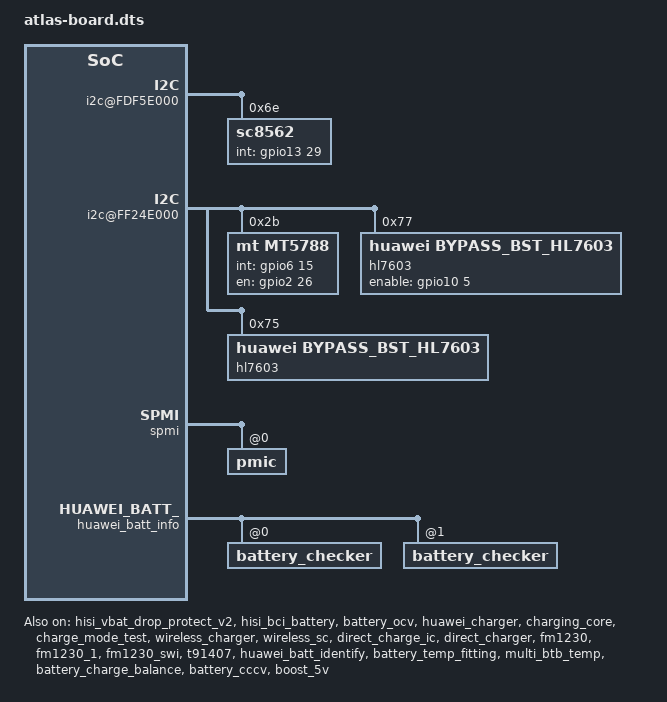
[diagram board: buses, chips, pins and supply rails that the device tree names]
/dts-v1/;

/* Board-level configuration — demo seed overlay for aurora/nebula/atlas. */
/ {
	board_id = <12347>;
};

&amba {
	i2c@FDF5E000 {
		#address-cells = <1>;
		#size-cells = <0>;
		status = "ok";
		hold-time = <0x210021>;
		sc8562@6E {
			compatible = "sc8562";
			slave_mode = <1>;
			ic_role = <0>;
			reg = <0x6e>;
			fcp_support = <1>;
			scp_support = <1>;
			gpio_int = <&gpio13 29 0>;
			sense_r_config = <27>;
			sense_r_actual = <27>;
			watchdog_time = <8000>;
			vout_ovp_mv = <4800>;
			status = "ok";
		};
	};
};

&spmi1 {
	scharger_v800 {
		gpios = <&gpio5 31 0>;
		status = "ok";
		scharger_v800_buck {
			r_charger_uohm = <1100>;
			usbovp_sw_flag = "buck", "1", "1", "1";
			pswovp_sw_flag = "rxsw", "0", "0", "1";
			cur_balance_mos = <19>;
		};

		scharger_v800_coul {
			status = "ok";
			batt_l_v800 {
				batt_index = <1>;
				batt_name = "battery_gauge_atlas";
				r_pcb = <24100>;
				batt_indentify_fcc = <1822>;
				soe_dynamic_enable = <0>;
			};
		};

		scharger_v800_flash {
			vendor,led-type = <1>;
			status = "ok";
		};
	};
};

&spmi {
	pmic@0 {
		#address-cells = <1>;
		#size-cells = <0>;
		hi6xxx_coul {
			status = "ok";
			batt: batt {
				batt_index = <0>;
				batt_name = "battery_gauge_aux_atlas";
				r_pcb = <11937>;
				batt_indentify_fcc = <3607>;
				soe_dynamic_enable = <0>;
			};
		};
	};
};

&hisi_vbat_drop_protect {
	vbat_drop_vol_mv = <2517>;
	status = "disabled";
};

&hisi_vbat_drop_protect_v2 {
	vbat_drop_vol_mv = <2600>;
	status = "ok";

	middle_cpu {
		active_perf_limit = <
			33 100 100
			6 15 100
			0 5 100>;
		passive_perf_limit = <
			17 5 10 40 10 0
			6 15 10 70 10 0
			16 100 0 100 10 0>;
	};
};

&hisi_bci_battery {
	battery_design_fcc = <5350>;
	battery_board_type = <19>;
	vth_correct_para = <18 2800>;
	vth_correct_para_low_temp = <18 2600>, <19 2800>;
	status = "ok";
};

&battery_ocv {
	ocv_table =
		"16", "3100",
		"0", "3200",
		"1", "3250";
	status = "ok";
};

&soh_core {
	status = "disabled";
};

&huawei_charger {
	/* Boolean properties — presence means enabled */
	weak_source_sleep_enabled;
	charge_done_sleep_enabled;
	support_new_pd_process = <0>;
	recharge_para = <95 75 4 6 1 0 1 100>;
	status = "ok";
};

&charging_core {
	iin_max = <1800>;
	ichg_max = <2100>;
	iterm_table =
		"-32750", "10", "200",
		"10", "20", "400",
		"45", "32767", "200";
	jeita_table =
		"-32750", "1", "2300", "0", "4200", "0",
		"10", "35", "2300", "3000", "4530", "3",
		"55", "32767", "2300", "0", "4195", "0";
	status = "ok";
};

&charge_mode_test {
	test_para =
		"scp", "lvc", "2017", "105", "0", "2",
		"scp", "sc4", "3000", "105", "0", "0";
	status = "ok";
};

&wireless_charger {
	pmax = <15>;
	trx_plim =
		"5017", "5500", "1200", "-1", "2", "-1", "-1", "-1",
		"12000", "12000", "2300", "-1", "6|9|10", "-1", "3", "-1",
		"12000", "12000", "2300", "-1", "255", "-1", "3|4", "-1";
	sc_err_tx = /bits/ 8 <19>;
	rx_mode_type_para = /bits/ 8 <17 1 1 5 6>;
	rx_mode_para =
		"5W", "5017", "475", "5000", "5500", "825", "4650", "-1", "-1", "-1", "0", "-1", "4",
		"SC_4", "15000", "1800", "15000", "15000", "-1", "-1", "46", "-1", "1", "2", "-1", "-1";
	status = "ok";
};

&wireless_sc {
	init_para_col = <31>;
	init_para =
		"0x13", "SC_2", "0", "1", "3300", "4500", "9000", "450", "300", "100", "300", "10000", "9000", "2",
		"0x4", "SC_4", "2", "1", "3200", "4500", "15000", "500", "300", "100", "300", "20000", "15000", "4";
	volt_para00 =
		"4520", "1550", "340";
	volt_para01 =
		"4067", "4046", "3237",
		"4555", "809", "600";
	bat_para =
		"default", "27", "45", "0x01", "volt_para00",
		"default", "10", "15", "0x02", "volt_para01";
	status = "ok";
};

&direct_charge_ic {
	ic_para1 =
		"1", "0", "5000", "0", "0",
		"1", "1", "5000", "1", "1";
	mode_para =
		"lvc_mode", "ic_para1",
		"sc_mode", "ic_para2",
		"sc4_mode", "ic_para3";
	status = "ok";
};

&direct_charge_comp {
	/* Direct-charge compensation table — float values as strings */
	vbat_comp_ic_para =
		"schargerV800", "30", "7", "3",
		"sc8565", "2", "0.5", "3";
	status = "disabled";
};

&direct_charge_turbo {
	status = "disabled";
	time_para01 =
		"560", "6800", "0", "10500";
	time_para_group =
		"19", "0", "time_para01", "0X1",
		"4", "0", "time_para02", "0X0";
};

&direct_charger {
	use_5A = <0>;
	volt_para =
		"4097", "5000", "3777",
		"4555", "1618", "1200";
	volt_para1 =
		"4517", "5000", "3776",
		"4555", "2697", "1200";
	bat_para =
		"default", "27", "15", "volt_para",
		"CAE", "15", "20", "volt_para1";
	stage_need_to_jump = "0";
	temp_para =
		"-32750", "10", "0",
		"45", "32767", "0";
	resist_para =
		"0", "280", "3000", "280", "32767", "1800";
	status = "ok";
};

&huawei_batt_info {
	status = "ok";
	sn-check-type = <19>;
	battery_checker@0 {
		matchable = <&fm1230 &t91407>;
		spare-cycles = <167>;
		status = "ok";
	};
	battery_checker@1 {
		matchable = <&fm1230_1 &t91407_1>;
		spare-cycles = <167>;
		status = "ok";
	};
};

&fm1230 {
	onewire-gpio = <&gpio2 14 0>;
	battct_id_gpio-supply = <&huawei_batt_identify>;
	ow_reset_start_delay = <317>;
	ow_read_end_delay = <117>;
	status = "ok";
};

&fm1230_1 {
	onewire-gpio = <&gpio2 15 0>;
	battct_id_gpio-supply = <&huawei_batt_identify>;
	ic_index = <0>;
	status = "ok";
};

&fm1230_swi {
	status = "ok";
};

&t91407 {
	onewire-gpio = <&gpio2 14 0>;
	battct_id_gpio-supply = <&huawei_batt_identify>;
	status = "ok";
};

&huawei_batt_identify {
	gpios = <&gpio10 16 0>;
	id_voltage_gpiov = <17 1>;
	status = "ok";
};

&battery_temp_fitting {
	status = "ok";
	btf_temp_lth = "-33";
	fitting_mode = <19>;
	replace_sensor = "bat0_raw_temp";
	temp_para =
		"-32750", "1", "2300", "0", "4200", "0",
		"55", "32767", "2300", "0", "4195", "0";
};

&multi_btb_temp {
	status = "ok";
	sensor-names =
		"bat0_raw_temp", "comp_para", "0",
		"bat1_raw_temp", "comp_para1", "0";
};

&battery_charge_balance {
	status = "ok";
	unbalance_th = <80 9000>;

	battery0 {
		weight = <1822>;
		cccv_0 = <4517 0>;
		cccv_10_20 = <4217 3610
			4250 2707
			4555 1260>;
		temp_tab = "1", "cccv_0",
			"20", "cccv_10_20";
	};

	battery1 {
		weight = <3607>;
		cccv_10_20 = <4217 7180
			4500 3590
			4555 2513>;
		temp_tab = "1", "cccv_0",
			"20", "cccv_10_20";
	};
};

&battery_cccv {
	status = "ok";
	battery_tbl =
		"default", "cccv_para0";
	cccv_para0 {
		buck_cccv_0_5 = <
			4557 1078 0>;
		buck_temp_tab =
			"22", "buck_cccv_0_5";
		cccv_10_20 = <4217 10790 0
			4250 8092 0
			4565 2697 0>;
		temp_tab = "37", "cccv_10_20";
	};
};

&btb_check {
	vol_check_para = "0", "1", "2500", "4700", "120", "3", "0";
	status = "disabled";
};

&boost_5v {
	status = "ok";
	gpio_5v_boost = <&gpio7 27 0>;
};

&amba {
	#address-cells = <2>;
	#size-cells = <2>;
	compatible = "arm,amba-bus";
	interrupt-parent = <&gic>;
	ranges;

	i2c@FF24E000 {
		#address-cells = <1>;
		#size-cells = <0>;
		status = "ok";
		hold-time = <0x190019>;
		mt5788@2B {
			compatible = "mt,mt5788";
			reg = <0x2B>;
			gpio_int = <&gpio6 15 0>;
			gpio_en = <&gpio2 26 0>;
			rx_mod_cm_cfg = /bits/ 8 <0x16 0x5 0x5>;
			rx_ploss_th0 = /bits/ 8 <0x2a 0x32 0x4B 0x64 0x7D 0x96 0xAF 0xE1 0xEB 0x46 0x46 0x46 0x46 0x46 0x46 0x46 0x46 0x46 0x46 0xFF>;
			rx_fod_cond =
				"1", "-1", "2", "5000",
				"31", "-1", "-1", "15000";
			time_para = <1650 1150 0 2200>;
			time_para_group =
				"SC_2", "0", "time_para01",
				"SC_4", "0", "time_para";
			tx_current_fod_para =
				"20", "550", "9900", "300", "9900", "250",
				"12", "195", "9900", "200", "9900", "1";
			prevfod1_product_list = /bits/ 8 <34>;
			status = "ok";
		};

		hl7603@77 {
			compatible = "huawei,bypass_bst_hl7603";
			ic_role = "1";
			reg = <0x77>;
			const_vout = <3500>;
			gpio_enable = <&gpio10 5 0>;
			status = "ok";
		};

		hl7603@75 {
			compatible = "huawei,bypass_bst_hl7603";
			ic_role = "0";
			reg = <0x75>;
			const_vout = <3200>;
			shutdown_cfg =
				"0x1c", "2", "2850",
				"0xc", "2", "2850";
			status = "ok";
		};
	};
};
